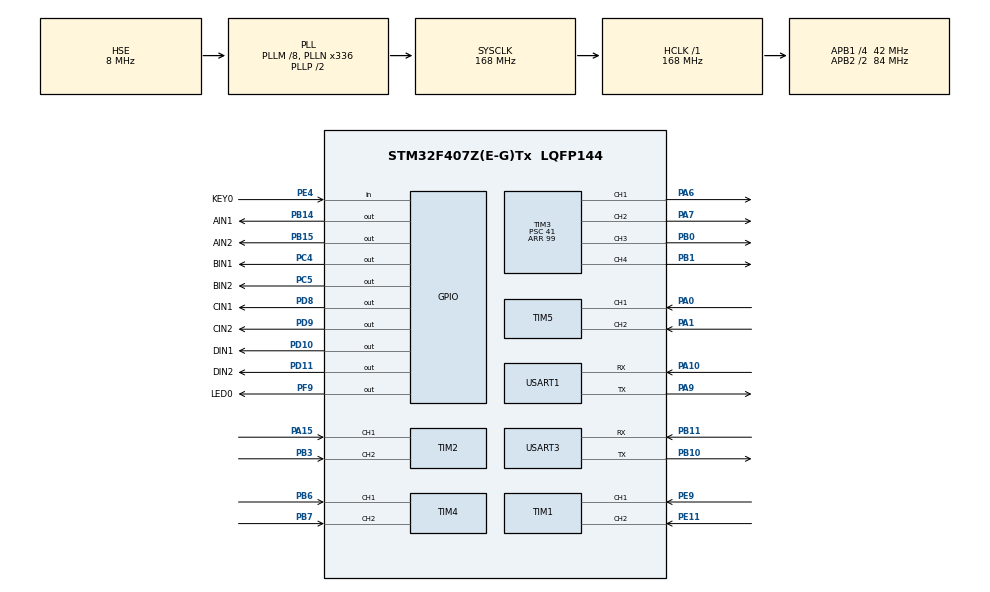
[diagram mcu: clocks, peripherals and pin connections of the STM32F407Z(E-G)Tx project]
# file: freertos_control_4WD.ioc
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Dma.Request0=USART3_RX
Dma.Request1=USART3_TX
Dma.USART3_RX.0.Direction=DMA_PERIPH_TO_MEMORY
Dma.USART3_RX.0.FIFOMode=DMA_FIFOMODE_DISABLE
Dma.USART3_RX.0.Instance=DMA1_Stream1
Dma.USART3_RX.0.MemDataAlignment=DMA_MDATAALIGN_BYTE
Dma.USART3_RX.0.MemInc=DMA_MINC_ENABLE
Dma.USART3_RX.0.Mode=DMA_CIRCULAR
Dma.USART3_RX.0.PeriphDataAlignment=DMA_PDATAALIGN_BYTE
Dma.USART3_RX.0.PeriphInc=DMA_PINC_DISABLE
Dma.USART3_RX.0.Priority=DMA_PRIORITY_LOW
Dma.USART3_TX.1.Direction=DMA_MEMORY_TO_PERIPH
Dma.USART3_TX.1.FIFOMode=DMA_FIFOMODE_DISABLE
Dma.USART3_TX.1.Instance=DMA1_Stream3
Dma.USART3_TX.1.MemDataAlignment=DMA_MDATAALIGN_BYTE
Dma.USART3_TX.1.MemInc=DMA_MINC_ENABLE
Dma.USART3_TX.1.Mode=DMA_NORMAL
Dma.USART3_TX.1.PeriphDataAlignment=DMA_PDATAALIGN_BYTE
Dma.USART3_TX.1.PeriphInc=DMA_PINC_DISABLE
Dma.USART3_TX.1.Priority=DMA_PRIORITY_LOW
FREERTOS.BinarySemaphores01=visionSem,Dynamic,NULL,Available
FREERTOS.Mutexes01=telemetryDataMutex,Dynamic,NULL,Available
FREERTOS.Queues01=targetCoordQueue,1,uint32_t,0,Dynamic,NULL,NULL
FREERTOS.Tasks01=defaultTask,0,128,StartDefaultTask,Default,NULL,Dynamic,NULL,NULL;controlTask,3,256,StartControlTask,Default,NULL,Dynamic,NULL,NULL;visionTask,0,512,StartVisionTask,Default,NULL,Dynamic,NULL,NULL;telemetryTask,-2,512,StartTelemetryTask,Default,NULL,Dynamic,NULL,NULL
FREERTOS.configCHECK_FOR_STACK_OVERFLOW=2
FREERTOS.configTOTAL_HEAP_SIZE=65536
Mcu.Family=STM32F4
Mcu.Name=STM32F407Z(E-G)Tx
Mcu.Package=LQFP144
NVIC.DMA1_Stream1_IRQn=true\:5\:0\:false\:false\:true\:true\:false\:true\:true
NVIC.DMA1_Stream3_IRQn=true\:5\:0\:false\:false\:true\:true\:false\:true\:true
NVIC.PriorityGroup=NVIC_PRIORITYGROUP_4
NVIC.TIM3_IRQn=true\:7\:0\:true\:false\:true\:true\:true\:true\:true
NVIC.TIM8_TRG_COM_TIM14_IRQn=true\:5\:0\:false\:false\:true\:false\:false\:true\:true
NVIC.TimeBase=TIM8_TRG_COM_TIM14_IRQn
NVIC.TimeBaseIP=TIM14
NVIC.USART1_IRQn=true\:5\:0\:false\:false\:true\:true\:true\:true\:true
NVIC.USART3_IRQn=true\:5\:0\:false\:false\:true\:true\:true\:true\:true
PA0-WKUP.Signal=S_TIM5_CH1
PA1.Signal=S_TIM5_CH2
PA10.Mode=Asynchronous
PA10.Signal=USART1_RX
PA13.Mode=Serial_Wire
PA13.Signal=SYS_JTMS-SWDIO
PA14.Mode=Serial_Wire
PA14.Signal=SYS_JTCK-SWCLK
PA15.Signal=S_TIM2_CH1_ETR
PA6.Signal=S_TIM3_CH1
PA7.Signal=S_TIM3_CH2
PA9.Mode=Asynchronous
PA9.Signal=USART1_TX
PB0.Signal=S_TIM3_CH3
PB1.Signal=S_TIM3_CH4
PB10.Mode=Asynchronous
PB10.Signal=USART3_TX
PB11.Mode=Asynchronous
PB11.Signal=USART3_RX
PB14.GPIO_Label=AIN1
PB14.Signal=GPIO_Output
PB15.GPIO_Label=AIN2
PB15.Signal=GPIO_Output
PB3.Signal=S_TIM2_CH2
PB6.Signal=S_TIM4_CH1
PB7.Signal=S_TIM4_CH2
PC14-OSC32_IN.Mode=LSE-External-Oscillator
PC14-OSC32_IN.Signal=RCC_OSC32_IN
PC15-OSC32_OUT.Mode=LSE-External-Oscillator
PC15-OSC32_OUT.Signal=RCC_OSC32_OUT
PC4.GPIO_Label=BIN1
PC4.Signal=GPIO_Output
PC5.GPIO_Label=BIN2
PC5.Signal=GPIO_Output
PD10.GPIO_Label=DIN1
PD10.Signal=GPIO_Output
PD11.GPIO_Label=DIN2
PD11.Signal=GPIO_Output
PD8.GPIO_Label=CIN1
PD8.Signal=GPIO_Output
PD9.GPIO_Label=CIN2
PD9.Signal=GPIO_Output
PE11.Signal=S_TIM1_CH2
PE4.GPIO_Label=KEY0
PE4.GPIO_PuPd=GPIO_PULLUP
PE4.Signal=GPIO_Input
PE9.Signal=S_TIM1_CH1
PF9.GPIO_Label=LED0
PF9.PinState=GPIO_PIN_SET
PF9.Signal=GPIO_Output
PH0-OSC_IN.Mode=HSE-External-Oscillator
PH0-OSC_IN.Signal=RCC_OSC_IN
PH1-OSC_OUT.Mode=HSE-External-Oscillator
PH1-OSC_OUT.Signal=RCC_OSC_OUT
ProjectManager.HeapSize=0x400
ProjectManager.StackSize=0x1000
ProjectManager.TargetToolchain=MDK-ARM V5.27
RCC.48MHZClocksFreq_Value=84000000
RCC.AHBFreq_Value=168000000
RCC.APB1CLKDivider=RCC_HCLK_DIV4
RCC.APB1Freq_Value=42000000
RCC.APB1TimFreq_Value=84000000
RCC.APB2CLKDivider=RCC_HCLK_DIV2
RCC.APB2Freq_Value=84000000
RCC.APB2TimFreq_Value=168000000
RCC.CortexFreq_Value=168000000
RCC.HCLKFreq_Value=168000000
RCC.HSE_VALUE=8000000
RCC.HSI_VALUE=16000000
RCC.PLLM=8
RCC.PLLN=336
RCC.PLLSourceVirtual=RCC_PLLSOURCE_HSE
RCC.SYSCLKFreq_VALUE=168000000
RCC.SYSCLKSource=RCC_SYSCLKSOURCE_PLLCLK
RCC.VCOOutputFreq_Value=336000000
SH.S_TIM1_CH1.0=TIM1_CH1,Encoder_Interface
SH.S_TIM1_CH2.0=TIM1_CH2,Encoder_Interface
SH.S_TIM2_CH1_ETR.0=TIM2_CH1,Encoder_Interface
SH.S_TIM2_CH2.0=TIM2_CH2,Encoder_Interface
SH.S_TIM3_CH1.0=TIM3_CH1,PWM Generation1 CH1
SH.S_TIM3_CH2.0=TIM3_CH2,PWM Generation2 CH2
SH.S_TIM3_CH3.0=TIM3_CH3,PWM Generation3 CH3
SH.S_TIM3_CH4.0=TIM3_CH4,PWM Generation4 CH4
SH.S_TIM4_CH1.0=TIM4_CH1,Encoder_Interface
SH.S_TIM4_CH2.0=TIM4_CH2,Encoder_Interface
SH.S_TIM5_CH1.0=TIM5_CH1,Encoder_Interface
SH.S_TIM5_CH2.0=TIM5_CH2,Encoder_Interface
TIM1.EncoderMode=TIM_ENCODERMODE_TI12
TIM2.EncoderMode=TIM_ENCODERMODE_TI12
TIM3.Channel-PWM\ Generation1\ CH1=TIM_CHANNEL_1
TIM3.Channel-PWM\ Generation2\ CH2=TIM_CHANNEL_2
TIM3.Channel-PWM\ Generation3\ CH3=TIM_CHANNEL_3
TIM3.Channel-PWM\ Generation4\ CH4=TIM_CHANNEL_4
TIM3.Period=99
TIM3.Prescaler=41
TIM4.EncoderMode=TIM_ENCODERMODE_TI12
TIM5.EncoderMode=TIM_ENCODERMODE_TI12
TIM5.IC2Filter=8
USART1.VirtualMode=VM_ASYNC
USART3.VirtualMode=VM_ASYNC
VP_FREERTOS_VS_CMSIS_V1.Mode=CMSIS_V1
VP_SYS_VS_tim14.Mode=TIM14
board=custom

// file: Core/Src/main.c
/* USER CODE BEGIN Header */
/**
  ******************************************************************************
  * @file           : main.c
  * @brief          : Main program body
  ******************************************************************************
  * @attention
  *
  * Copyright (c) 2025 STMicroelectronics.
  * All rights reserved.
  *
  * This software is licensed under terms that can be found in the LICENSE file
  * in the root directory of this software component.
  * If no LICENSE file comes with this software, it is provided AS-IS.
  *
  ******************************************************************************
  */
/* USER CODE END Header */
#include "main.h"
#include "cmsis_os.h"
#include "dma.h"
#include "tim.h"
#include "usart.h"
#include "gpio.h"

/* USER CODE BEGIN Includes */
#include "mainpp.h"
#include "motor.h"
#include "pid.h"
#include "Serial.h"
#include "Control.h"
#include "Key.h"
#include "Encoder.h"
#include "vision.h" // 包含头文件

/* USER CODE END Includes */

/* USER CODE BEGIN PV */
// FreeRTOS 任务句柄和对象句柄通常由 CubeMX 自动生成在 freertos.c 中
// 我们在这里用 extern 声明它们，以便在其他地方使用
// extern osThreadId defaultTaskHandle;
// extern osThreadId controlTaskHandle;
// extern osThreadId visionTaskHandle;
// extern osThreadId telemetryTaskHandle;
// extern osMessageQId targetCoordQueueHandle;
// extern osMutexId telemetryDataMutexHandle;

// 用于在任务间同步当前正在测试的电机编号
volatile uint8_t g_test_motor_index = 0;
/* USER CODE END PV */

void SystemClock_Config(void);
void MX_FREERTOS_Init(void);

/* USER CODE BEGIN 0 */
uint8_t rx_char ;
/* USER CODE END 0 */

int main(void)
{

  /* MCU Configuration--------------------------------------------------------*/

  /* Reset of all peripherals, Initializes the Flash interface and the Systick. */
  HAL_Init();

  /* Configure the system clock */
  SystemClock_Config();

  /* Initialize all configured peripherals */
  MX_GPIO_Init();
  MX_DMA_Init();
  MX_USART3_UART_Init();
  MX_TIM2_Init();
  MX_TIM3_Init();
  MX_USART1_UART_Init();
  MX_TIM4_Init();
  MX_TIM1_Init();
  MX_TIM5_Init();
  /* USER CODE BEGIN 2 */

	Serial_Init();      // 初始化调试串口
  Motor_Init();       // 初始化电机PWM
  Encoder_Init();     // 初始化编码器接口
  Control_Init();     // 初始化PID等控制变量
	Vision_Init();
	Serial_Printf("System Initialized. Starting RTOS Scheduler...\r\n");

  /* USER CODE END 2 */

  /* Call init function for freertos objects (in cmsis_os2.c) */
  MX_FREERTOS_Init();

  /* Start scheduler */
  osKernelStart();

  /* We should never get here as control is now taken by the scheduler */

  /* Infinite loop */
  while (1)
  {

  }
}

void SystemClock_Config(void)
{
  RCC_OscInitTypeDef RCC_OscInitStruct = {0};
  RCC_ClkInitTypeDef RCC_ClkInitStruct = {0};

  /** Configure the main internal regulator output voltage
  */
  __HAL_RCC_PWR_CLK_ENABLE();
  __HAL_PWR_VOLTAGESCALING_CONFIG(PWR_REGULATOR_VOLTAGE_SCALE1);

  /** Initializes the RCC Oscillators according to the specified parameters
  * in the RCC_OscInitTypeDef structure.
  */
  RCC_OscInitStruct.OscillatorType = RCC_OSCILLATORTYPE_HSE;
  RCC_OscInitStruct.HSEState = RCC_HSE_ON;
  RCC_OscInitStruct.PLL.PLLState = RCC_PLL_ON;
  RCC_OscInitStruct.PLL.PLLSource = RCC_PLLSOURCE_HSE;
  RCC_OscInitStruct.PLL.PLLM = 8;
  RCC_OscInitStruct.PLL.PLLN = 336;
  RCC_OscInitStruct.PLL.PLLP = RCC_PLLP_DIV2;
  RCC_OscInitStruct.PLL.PLLQ = 4;
  if (HAL_RCC_OscConfig(&RCC_OscInitStruct) != HAL_OK)
  {
    Error_Handler();
  }

  /** Initializes the CPU, AHB and APB buses clocks
  */
  RCC_ClkInitStruct.ClockType = RCC_CLOCKTYPE_HCLK|RCC_CLOCKTYPE_SYSCLK
                              |RCC_CLOCKTYPE_PCLK1|RCC_CLOCKTYPE_PCLK2;
  RCC_ClkInitStruct.SYSCLKSource = RCC_SYSCLKSOURCE_PLLCLK;
  RCC_ClkInitStruct.AHBCLKDivider = RCC_SYSCLK_DIV1;
  RCC_ClkInitStruct.APB1CLKDivider = RCC_HCLK_DIV4;
  RCC_ClkInitStruct.APB2CLKDivider = RCC_HCLK_DIV2;

  if (HAL_RCC_ClockConfig(&RCC_ClkInitStruct, FLASH_LATENCY_5) != HAL_OK)
  {
    Error_Handler();
  }
}

void HAL_TIM_PeriodElapsedCallback(TIM_HandleTypeDef *htim)
{
  if (htim->Instance == TIM14)
  {
    HAL_IncTick();
  }
}

void Error_Handler(void)
{
  __disable_irq();
  while (1)
  {
  }
}

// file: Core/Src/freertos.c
/* USER CODE BEGIN Header */
/**
  ******************************************************************************
  * File Name          : freertos.c
  * Description        : Code for freertos applications
  ******************************************************************************
  * @attention
  *
  * Copyright (c) 2025 STMicroelectronics.
  * All rights reserved.
  *
  * This software is licensed under terms that can be found in the LICENSE file
  * in the root directory of this software component.
  * If no LICENSE file comes with this software, it is provided AS-IS.
  *
  ******************************************************************************
  */
/* USER CODE END Header */

#include "FreeRTOS.h"
#include "task.h"
#include "main.h"
#include "cmsis_os.h"

/* USER CODE BEGIN Includes */
#include "Encoder.h"   // <<< 新增这一行
#include "Serial.h"    // <<< 新增这一行
#include "Control.h"
#include "motor.h"     // <<< 顺便把Motor.h也加上，因为你在ControlTask里会用到
#include "vision.h" // 包含头文件
/* USER CODE END Includes */

osThreadId defaultTaskHandle;
osThreadId controlTaskHandle;
osThreadId visionTaskHandle;
osThreadId telemetryTaskHandle;
osMessageQId targetCoordQueueHandle;
osMutexId telemetryDataMutexHandle;
osSemaphoreId visionSemHandle;

void StartDefaultTask(void const * argument);
void StartControlTask(void const * argument);
void StartVisionTask(void const * argument);
void StartTelemetryTask(void const * argument);

void MX_FREERTOS_Init(void); /* (MISRA C 2004 rule 8.1) */

/* GetIdleTaskMemory prototype (linked to static allocation support) */
void vApplicationGetIdleTaskMemory( StaticTask_t **ppxIdleTaskTCBBuffer, StackType_t **ppxIdleTaskStackBuffer, uint32_t *pulIdleTaskStackSize );

/* Hook prototypes */
void vApplicationStackOverflowHook(xTaskHandle xTask, signed char *pcTaskName);

/* USER CODE BEGIN 4 */
__weak void vApplicationStackOverflowHook(xTaskHandle xTask, signed char *pcTaskName)
{
   /* Run time stack overflow checking is performed if
   configCHECK_FOR_STACK_OVERFLOW is defined to 1 or 2. This hook function is
   called if a stack overflow is detected. */
   Serial_Printf("!!!!!! STACK OVERFLOW in task: %s !!!!!!\r\n", pcTaskName);

    // 在这里可以闪烁一个特定的错误LED灯，或者直接进入死循环
   while(1)
   {
       // 比如让一个错误LED快速闪烁
   }
}
/* USER CODE END 4 */

/* USER CODE BEGIN GET_IDLE_TASK_MEMORY */
static StaticTask_t xIdleTaskTCBBuffer;
static StackType_t xIdleStack[configMINIMAL_STACK_SIZE];

void vApplicationGetIdleTaskMemory( StaticTask_t **ppxIdleTaskTCBBuffer, StackType_t **ppxIdleTaskStackBuffer, uint32_t *pulIdleTaskStackSize )
{
  *ppxIdleTaskTCBBuffer = &xIdleTaskTCBBuffer;
  *ppxIdleTaskStackBuffer = &xIdleStack[0];
  *pulIdleTaskStackSize = configMINIMAL_STACK_SIZE;
  /* place for user code */
}
/* USER CODE END GET_IDLE_TASK_MEMORY */

void MX_FREERTOS_Init(void) {
  /* Create the mutex(es) */
  /* definition and creation of telemetryDataMutex */
  osMutexDef(telemetryDataMutex);
  telemetryDataMutexHandle = osMutexCreate(osMutex(telemetryDataMutex));

  /* Create the semaphores(s) */
  /* definition and creation of visionSem */
  osSemaphoreDef(visionSem);
  visionSemHandle = osSemaphoreCreate(osSemaphore(visionSem), 1);

  /* Create the queue(s) */
  /* definition and creation of targetCoordQueue */
  osMessageQDef(targetCoordQueue, 1, uint32_t);
  targetCoordQueueHandle = osMessageCreate(osMessageQ(targetCoordQueue), NULL);

  /* Create the thread(s) */
  /* definition and creation of defaultTask */
  osThreadDef(defaultTask, StartDefaultTask, osPriorityNormal, 0, 128);
  defaultTaskHandle = osThreadCreate(osThread(defaultTask), NULL);

  /* definition and creation of controlTask */
  osThreadDef(controlTask, StartControlTask, osPriorityRealtime, 0, 256);
  controlTaskHandle = osThreadCreate(osThread(controlTask), NULL);

  /* definition and creation of visionTask */
  osThreadDef(visionTask, StartVisionTask, osPriorityNormal, 0, 512);
  visionTaskHandle = osThreadCreate(osThread(visionTask), NULL);

  /* definition and creation of telemetryTask */
  osThreadDef(telemetryTask, StartTelemetryTask, osPriorityLow, 0, 512);
  telemetryTaskHandle = osThreadCreate(osThread(telemetryTask), NULL);

}

void StartDefaultTask(void const * argument)
{
  /* USER CODE BEGIN StartDefaultTask */
  /* Infinite loop */
  for(;;)
  {
    HAL_GPIO_TogglePin(LED0_GPIO_Port, LED0_Pin); // 假设你有LED0在PF9
    osDelay(500);
  }
  /* USER CODE END StartDefaultTask */
}

void StartControlTask(void const * argument)
{
  /* USER CODE BEGIN StartControlTask */
  /* Infinite loop */
  // 使用 TickCount 来实现精确的周期性延时
  TickType_t xLastWakeTime = xTaskGetTickCount();
  const TickType_t xFrequency = 10; // 10ms

  for(;;)
  {
     // 等待，直到下一个10ms的到来
    vTaskDelayUntil(&xLastWakeTime, xFrequency);

    // 调用 Control.c 中的PID主循环函数
    Control_PID_Loop();

  }

  /* USER CODE END StartControlTask */
}

void StartVisionTask(void const * argument)
{
  /* USER CODE BEGIN StartVisionTask */
  /* Infinite loop */
  for(;;)
  {
    if (osSemaphoreWait(visionSemHandle, osWaitForever) == osOK)
    {
        // 调用处理函数
        Vision_ProcessData();
    }

  }
  /* USER CODE END StartVisionTask */
}

void StartTelemetryTask(void const * argument)
{
  /* USER CODE BEGIN StartTelemetryTask */
  /* Infinite loop */

  for(;;)
  {
     // 调用 Control.c 中的遥测打印函数
    Control_Telemetry_Loop();
    osDelay(10);

  }
  /* USER CODE END StartTelemetryTask */
}
